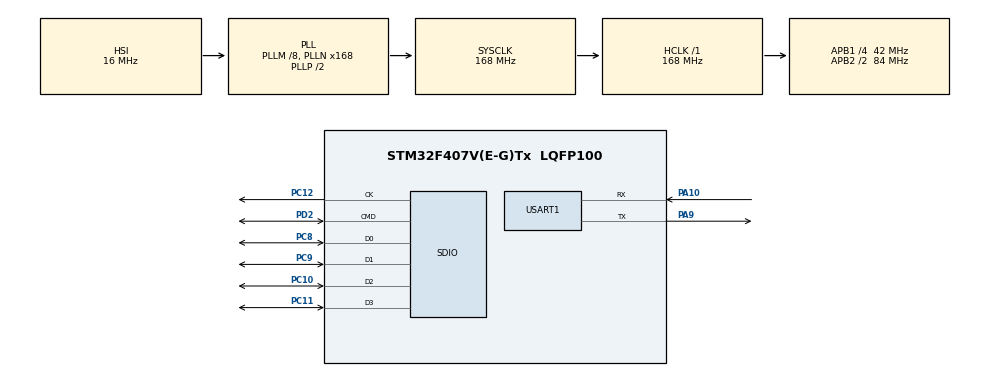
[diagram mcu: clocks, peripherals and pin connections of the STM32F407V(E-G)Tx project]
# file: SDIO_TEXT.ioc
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FATFS._CODE_PAGE=936
FATFS._USE_LFN=1
FATFS._USE_STRFUNC=2
Mcu.Family=STM32F4
Mcu.Name=STM32F407V(E-G)Tx
Mcu.Package=LQFP100
NVIC.PriorityGroup=NVIC_PRIORITYGROUP_4
NVIC.SDIO_IRQn=true\:0\:0\:false\:false\:true\:true\:true
NVIC.USART1_IRQn=true\:0\:0\:false\:false\:true\:true\:true
PA10.Mode=Asynchronous
PA10.Signal=USART1_RX
PA13.Mode=Serial_Wire
PA13.Signal=SYS_JTMS-SWDIO
PA14.Mode=Serial_Wire
PA14.Signal=SYS_JTCK-SWCLK
PA9.Mode=Asynchronous
PA9.Signal=USART1_TX
PC10.GPIO_PuPd=GPIO_PULLUP
PC10.Mode=SD_4_bits_Wide_bus
PC10.Signal=SDIO_D2
PC11.GPIO_PuPd=GPIO_PULLUP
PC11.Mode=SD_4_bits_Wide_bus
PC11.Signal=SDIO_D3
PC12.GPIO_PuPd=GPIO_PULLUP
PC12.Mode=SD_4_bits_Wide_bus
PC12.Signal=SDIO_CK
PC8.GPIO_PuPd=GPIO_PULLUP
PC8.Mode=SD_4_bits_Wide_bus
PC8.Signal=SDIO_D0
PC9.GPIO_PuPd=GPIO_PULLUP
PC9.Mode=SD_4_bits_Wide_bus
PC9.Signal=SDIO_D1
PD2.GPIO_PuPd=GPIO_PULLUP
PD2.Mode=SD_4_bits_Wide_bus
PD2.Signal=SDIO_CMD
ProjectManager.HeapSize=0x200
ProjectManager.StackSize=0x400
ProjectManager.TargetToolchain=MDK-ARM V5.32
RCC.48MHZClocksFreq_Value=48000000
RCC.AHBFreq_Value=168000000
RCC.APB1CLKDivider=RCC_HCLK_DIV4
RCC.APB1Freq_Value=42000000
RCC.APB1TimFreq_Value=84000000
RCC.APB2CLKDivider=RCC_HCLK_DIV2
RCC.APB2Freq_Value=84000000
RCC.APB2TimFreq_Value=168000000
RCC.CortexFreq_Value=168000000
RCC.HCLKFreq_Value=168000000
RCC.HSE_VALUE=25000000
RCC.HSI_VALUE=16000000
RCC.LSE_VALUE=32768
RCC.PLLM=8
RCC.PLLN=168
RCC.PLLQ=7
RCC.SYSCLKFreq_VALUE=168000000
RCC.SYSCLKSource=RCC_SYSCLKSOURCE_PLLCLK
RCC.VCOOutputFreq_Value=336000000
SDIO.ClockDiv=6
USART1.VirtualMode=VM_ASYNC
VP_FATFS_VS_SDIO.Mode=SDIO
board=custom

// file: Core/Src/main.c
/* USER CODE BEGIN Header */
/* USER CODE END Header */
#include "main.h"
#include "fatfs.h"
#include "sdio.h"
#include "usart.h"
#include "gpio.h"
#include <string.h>

/* USER CODE BEGIN Includes */

#include <stdio.h>
#include <string.h>
#include <stdlib.h>
#include <ctype.h>

/* USER CODE END Includes */

/* USER CODE BEGIN PTD */

FATFS fs;
FIL fil;
FRESULT fresult;

/* USER CODE END PTD */

/* USER CODE BEGIN PD */

#define FILE_BUFFER_SIZE 512
char file_buffer[FILE_BUFFER_SIZE];
#define LINE_BUFFER_SIZE 64
char line_buffer[LINE_BUFFER_SIZE];

/* USER CODE END PD */

void SystemClock_Config(void);
/* USER CODE BEGIN PFP */

void trim(char *str) {
    int i;
    int len = strlen(str);

    // ??????
    while (len > 0 && isspace((unsigned char)str[len - 1])) {
        str[--len] = '\0';
    }

    // ??????
    i = 0;
    while (isspace((unsigned char)str[i])) {
        i++;
    }
    if (i > 0) {
        memmove(str, str + i, len - i + 1);
    }
}//ues for the word in the commands.txt processing

/* USER CODE END PFP */

int main(void)
{

  /* MCU Configuration--------------------------------------------------------*/

  /* Reset of all peripherals, Initializes the Flash interface and the Systick. */
  HAL_Init();

  /* Configure the system clock */
  SystemClock_Config();

  /* Initialize all configured peripherals */
  MX_GPIO_Init();
  MX_SDIO_SD_Init();
  MX_FATFS_Init();
  MX_USART1_UART_Init();
  /* USER CODE BEGIN 2 */

	//creat a text.txt to solve data
	  fresult = f_mount(&fs,"",1);
	 if(fresult != FR_OK)
	 {
	  Error_Handler();
	 }

	  fresult = f_open(&fil, "text.txt", FA_CREATE_ALWAYS | FA_WRITE);
	  if(fresult == FR_OK)
	  {
		 char data[] = "Hello STM32F429 SDIO!\r\n";
	   UINT BYTES_WRITTEN;
		 fresult = f_write(&fil, data,strlen(data),&BYTES_WRITTEN);
		 f_close(&fil);
	  }

//the function of data_read in sd card && control the f4 with the word in commands.txt
		    //read the data and save them in the buffer
		fresult = f_open(&fil, "commands.txt", FA_READ);
    if (fresult == FR_OK)
   {
    UINT bytes_read;
    f_read(&fil, file_buffer, FILE_BUFFER_SIZE - 1, &bytes_read);
    file_buffer[bytes_read] = '\0';
     f_close(&fil);
   }
   else
    {
    Error_Handler();
	  }

		char *current_line = file_buffer;
    char *next_line;

		   //work for the commands
		while(1)
    {
		      next_line = strchr(current_line, '\n');
          if (next_line != NULL) {*next_line = '\0';}

          if (strlen(current_line) == 0)
						{
              if (next_line == NULL) break;
              current_line = next_line + 1;
              continue;
            }

          size_t len = strlen(current_line);
          if (len > 0 && current_line[len - 1] == '\r')
					{
           current_line[len - 1] = '\0';
          }

					trim(current_line);

   /**
      * @brief  This function is executed in case of error occurrence.
      * @retval None
					for example:
					   if (strcmp(current_line, "LED_ON") == 0)
              {
               HAL_GPIO_WritePin(GPIOB, GPIO_PIN_0, GPIO_PIN_RESET);
               HAL_Delay(200);
              }
              else if (strcmp(current_line, "LED_OFF") == 0)
             {
               HAL_GPIO_WritePin(GPIOB, GPIO_PIN_0, GPIO_PIN_SET);
               HAL_Delay(200);
             }
              else if (strncmp(current_line, "DELAY:", 6) == 0)
             {
              int delay_ms = atoi(current_line + 6);
              if (delay_ms > 0 && delay_ms <= 5000)
               {
                HAL_Delay(delay_ms);
               }
             }

      */

		if (next_line == NULL)  break;
    current_line = next_line + 1;
  }

  /* USER CODE END 2 */

  /* Infinite loop */
	while(1)
	{

	}
}

void SystemClock_Config(void)
{
  RCC_OscInitTypeDef RCC_OscInitStruct = {0};
  RCC_ClkInitTypeDef RCC_ClkInitStruct = {0};

  /** Configure the main internal regulator output voltage
  */
  __HAL_RCC_PWR_CLK_ENABLE();
  __HAL_PWR_VOLTAGESCALING_CONFIG(PWR_REGULATOR_VOLTAGE_SCALE1);
  /** Initializes the RCC Oscillators according to the specified parameters
  * in the RCC_OscInitTypeDef structure.
  */
  RCC_OscInitStruct.OscillatorType = RCC_OSCILLATORTYPE_HSI;
  RCC_OscInitStruct.HSIState = RCC_HSI_ON;
  RCC_OscInitStruct.HSICalibrationValue = RCC_HSICALIBRATION_DEFAULT;
  RCC_OscInitStruct.PLL.PLLState = RCC_PLL_ON;
  RCC_OscInitStruct.PLL.PLLSource = RCC_PLLSOURCE_HSI;
  RCC_OscInitStruct.PLL.PLLM = 8;
  RCC_OscInitStruct.PLL.PLLN = 168;
  RCC_OscInitStruct.PLL.PLLP = RCC_PLLP_DIV2;
  RCC_OscInitStruct.PLL.PLLQ = 7;
  if (HAL_RCC_OscConfig(&RCC_OscInitStruct) != HAL_OK)
  {
    Error_Handler();
  }
  /** Initializes the CPU, AHB and APB buses clocks
  */
  RCC_ClkInitStruct.ClockType = RCC_CLOCKTYPE_HCLK|RCC_CLOCKTYPE_SYSCLK
                              |RCC_CLOCKTYPE_PCLK1|RCC_CLOCKTYPE_PCLK2;
  RCC_ClkInitStruct.SYSCLKSource = RCC_SYSCLKSOURCE_PLLCLK;
  RCC_ClkInitStruct.AHBCLKDivider = RCC_SYSCLK_DIV1;
  RCC_ClkInitStruct.APB1CLKDivider = RCC_HCLK_DIV4;
  RCC_ClkInitStruct.APB2CLKDivider = RCC_HCLK_DIV2;

  if (HAL_RCC_ClockConfig(&RCC_ClkInitStruct, FLASH_LATENCY_5) != HAL_OK)
  {
    Error_Handler();
  }
}

void Error_Handler(void)
{
	__disable_irq();
	while (1){}
}

/************************ (C) COPYRIGHT STMicroelectronics *****END OF FILE****/
